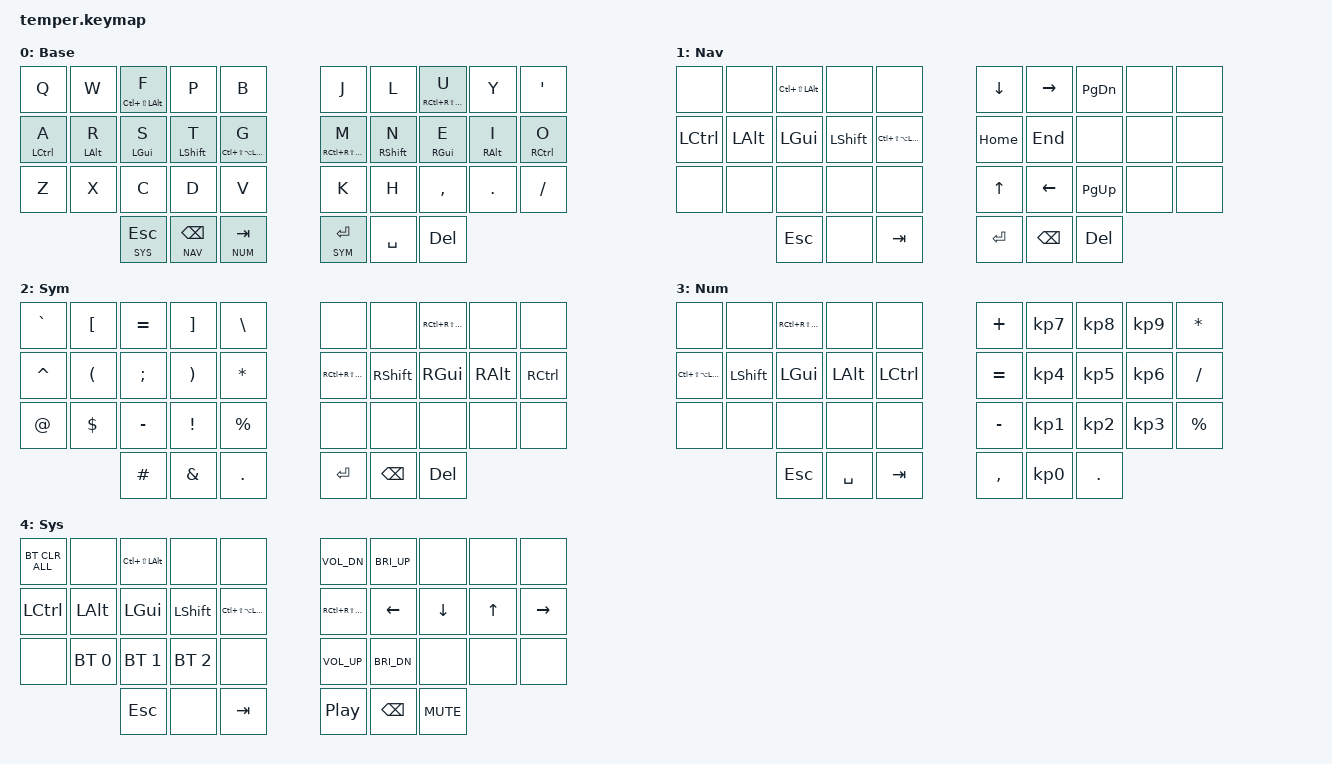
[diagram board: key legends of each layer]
/*
 * Copyright (c) 2020 The ZMK Contributors
 *
 * SPDX-License-Identifier: MIT
 */

#include <behaviors.dtsi>
#include <dt-bindings/zmk/keys.h>
#include <dt-bindings/zmk/bt.h>
#include <dt-bindings/zmk/outputs.h>

#define BASE  0
#define NAV   1
#define SYM   2
#define NUM   3
#define SYS   4

#define LMEH   LC(LS(LALT))
#define RMEH   RC(RS(RALT))
#define LHYPR  LC(LS(LA(LGUI)))
#define RHYPR  RC(RS(RA(RGUI)))
#define ___ &trans


// Reminder of the key indexes
// RC(0,0) RC(0,1) RC(0,2) RC(0,3) RC(0,4)  RC(0,5) RC(0,6) RC(0,7) RC(0,8) RC(0,9)
// RC(1,0) RC(1,1) RC(1,2) RC(1,3) RC(1,4)  RC(1,5) RC(1,6) RC(1,7) RC(1,8) RC(1,9)
// RC(2,0) RC(2,1) RC(2,2) RC(2,3) RC(2,4)  RC(2,5) RC(2,6) RC(2,7) RC(2,8) RC(2,9)
//                RC(3,2) RC(3,3) RC(3,4)  RC(3,5) RC(3,6) RC(3,7)


&caps_word {
    continue-list = <UNDERSCORE MINUS SPACE DELETE BACKSPACE>;
};

/ {
    behaviors {
        slt: sticky_layer_tap {
            compatible = "zmk,behavior-hold-tap";
            #binding-cells = <2>;
            quick-tap-ms = <200>;
            tapping-term-ms = <150>;
            flavor = "hold-preferred";
            bindings = <&sl>, <&kp>;
        };
        hml: balanced_homerow_mods_left {
            compatible = "zmk,behavior-hold-tap";
            #binding-cells = <2>;
            tapping-term-ms = <180>;  
            quick-tap-ms = <0>;
            flavor = "balanced";
            bindings = <&kp>, <&kp>;
        };
        hmr: balanced_homerow_mods_right {
            compatible = "zmk,behavior-hold-tap";
            #binding-cells = <2>;
            tapping-term-ms = <180>;   
            quick-tap-ms = <0>;
            flavor = "balanced";
            bindings = <&kp>, <&kp>;
            hold-trigger-key-positions = <0 1 2 3 4 14 20 21 22 23 24 32 33 34>;
        };
        tp: tap_preferred_hold {
            compatible = "zmk,behavior-hold-tap";
            #binding-cells = <2>;
            tapping-term-ms = <180>;    
            flavor = "tap-preferred";
            bindings = <&kp>, <&kp>;
        };
    };
    combos {
        compatible = "zmk,combos";
        // Vertical Top row + Home row
        // Left
     
      left_bracket_combo {
            timeout-ms = <50>;
            key-positions = <1 11>;
            bindings = <&kp LBKT>;
            layers = <0>;
        };
       left_brace_combo {
            timeout-ms = <50>;
            key-positions = <2 12>;
            bindings = <&kp LBRC>;
            layers = <0>;
        };
       left_paren_combo {
            timeout-ms = <50>;
            key-positions = <3 13>;
            bindings = <&kp LPAR>;
            layers = <0>;
        };
       lt_combo {
            timeout-ms = <50>;
            key-positions = <4 14>;
            bindings = <&kp LT>;
            layers = <0>;
        };
        // Right
       gt_combo {
            timeout-ms = <50>;
            key-positions = <5 15>;
            bindings = <&kp GT>;
            layers = <0>;
        };
       right_paren_combo {
            timeout-ms = <50>;
            key-positions = <6 16>;
            bindings = <&kp RPAR>;
            layers = <0>;
        };
       right_brace_combo {
            timeout-ms = <50>;
            key-positions = <7 17>;
            bindings = <&kp RBRC>;
            layers = <0>;
        };
       right_bracket_combo {
            timeout-ms = <50>;
            key-positions = <8 18>;
            bindings = <&kp RBKT>;
            layers = <0>;
        };

      // Vertial Home row + bottom
       minus_combo {
            timeout-ms = <50>;
            key-positions = <12 22>;
            bindings = <&kp MINUS>;
            layers = <0>;
        };
       underscore_combo {
            timeout-ms = <50>;
            key-positions = <14 24>;
            bindings = <&kp UNDERSCORE>;
            layers = <0>;
        };
       equal_combo {
            timeout-ms = <50>;
            key-positions = <15 25>;
            bindings = <&kp EQUAL>;
            layers = <0>;
        };
        vim_command_combo {
            timeout-ms = <50>;
            key-positions = <16 26>;
            bindings = <&kp COLON>;
            layers = <0>;
        };
       plus_combo {
            timeout-ms = <50>;
            key-positions = <17 27>;
            bindings = <&kp PLUS>;
            layers = <0>;
        };


      // Horizontal
        caps_words_combo {
            timeout-ms = <50>;
            key-positions = <0 10>;
            bindings = <&caps_word>;
        };

        // Set up mods combo - note: there is probably a better way to do this
        // Left hand combos - Basic dual combinations
        combo_left_ctrl_opt {
            timeout-ms = <50>;
            key-positions = <10 11>; // A + R (Ctrl + Opt)
            bindings = <&kp LCTRL &kp LALT>;
        };
        
        combo_left_ctrl_cmd {
            timeout-ms = <50>;
            key-positions = <10 12>; // A + S (Ctrl + Cmd)
            bindings = <&kp LCTRL &kp LCMD>;
        };
        
        combo_left_ctrl_shift {
            timeout-ms = <50>;
            key-positions = <10 13>; // A + T (Ctrl + Shift)
            bindings = <&kp LCTRL &kp LSHIFT>;
        };
        
        combo_left_opt_cmd {
            timeout-ms = <50>;
            key-positions = <11 12>; // R + S (Opt + Cmd)
            bindings = <&kp LALT &kp LCMD>;
        };
        
        combo_left_opt_shift {
            timeout-ms = <50>;
            key-positions = <11 13>; // R + T (Opt + Shift)
            bindings = <&kp LALT &kp LSHIFT>;
        };
        
        combo_left_cmd_shift {
            timeout-ms = <50>;
            key-positions = <12 13>; // S + T (Cmd + Shift)
            bindings = <&kp LCMD &kp LSHIFT>;
        };
        
        // Right hand combos - Basic dual combinations
        combo_right_shift_cmd {
            timeout-ms = <50>;
            key-positions = <16 17>; // N + E (Shift + Cmd)
            bindings = <&kp RSHIFT &kp RCMD>;
        };
        
        combo_right_shift_opt {
            timeout-ms = <50>;
            key-positions = <16 18>; // N + I (Shift + Opt)
            bindings = <&kp RSHIFT &kp RALT>;
        };
        
        combo_right_shift_ctrl {
            timeout-ms = <50>;
            key-positions = <16 19>; // N + O (Shift + Ctrl)
            bindings = <&kp RSHIFT &kp RCTRL>;
        };
        
        combo_right_cmd_opt {
            timeout-ms = <50>;
            key-positions = <17 18>; // E + I (Cmd + Opt)
            bindings = <&kp RCMD &kp RALT>;
        };
        
        combo_right_cmd_ctrl {
            timeout-ms = <50>;
            key-positions = <17 19>; // E + O (Cmd + Ctrl)
            bindings = <&kp RCMD &kp RCTRL>;
        };
        
        combo_right_opt_ctrl {
            timeout-ms = <50>;
            key-positions = <18 19>; // I + O (Opt + Ctrl)
            bindings = <&kp RALT &kp RCTRL>;
        };
    };

  keymap {
    compatible = "zmk,keymap";
    default_layer {
      display-name="Base";
      bindings = <
      // ╭──────────────┬──────────────┬──────────────┬──────────────┬──────────────╮ ╭──────────────┬──────────────┬──────────────┬──────────────┬──────────────╮
          &kp Q          &kp W          &tp LMEH  F    &kp P          &kp B            &kp J          &kp L          &tp RMEH  U    &kp Y          &kp APOS
      // ├──────────────┼──────────────┼──────────────┼──────────────┼──────────────┤ ├──────────────┼──────────────┼──────────────┼──────────────┼──────────────┤
          &hml LCTRL A   &hml LALT R    &hml LGUI S    &hml LSHFT T   &tp LHYPR G       &tp RHYPR M     &hmr RSHFT N   &hmr RGUI E    &hmr RALT I    &hmr RCTRL O
      // ├──────────────┼──────────────┼──────────────┼──────────────┼──────────────┤ ├──────────────┼──────────────┼──────────────┼──────────────┼──────────────┤
          &kp Z          &kp X          &kp C          &kp D          &kp V            &kp K          &kp H          &kp COMMA      &kp DOT        &kp FSLH
      // ╰──────────────┼──────────────┼──────────────┼──────────────┼──────────────┤ ├──────────────┼──────────────┼──────────────┼──────────────┼──────────────╯
                                        &slt SYS ESC   &slt NAV BKSP &slt NUM TAB    &slt SYM RET  &kp SPACE       &kp DEL
      //                               ╰──────────────┴──────────────┴──────────────╯ ╰──────────────┴──────────────┴──────────────╯
      >;
    };
    nav_layer {
      display-name="Nav";
      bindings = <
      // ╭──────────────┬──────────────┬──────────────┬──────────────┬──────────────╮ ╭──────────────┬──────────────┬──────────────┬──────────────┬──────────────╮
          &none          &none          &kp LMEH       &none          &none            &kp DOWN       &kp RIGHT      &kp PG_DN      &none          &none
      // ├──────────────┼──────────────┼──────────────┼──────────────┼──────────────┤ ├──────────────┼──────────────┼──────────────┼──────────────┼──────────────┤
          &kp LCTRL      &kp LALT       &kp LGUI       &kp LSHFT      &kp LHYPR         &kp HOME       &kp END        &none          &none         &none
      // ├──────────────┼──────────────┼──────────────┼──────────────┼──────────────┤ ├──────────────┼──────────────┼──────────────┼──────────────┼──────────────┤
          &none         &none           &none          &none          &none            &kp UP         &kp LEFT       &kp PG_UP      &none          &none 
      // ╰──────────────┼──────────────┼──────────────┼──────────────┼──────────────┤ ├──────────────┼──────────────┼──────────────┼──────────────┼──────────────╯
                                        &kp ESC        &none          &kp TAB          &kp RET        &kp BKSP       &kp DEL
      //                               ╰──────────────┴──────────────┴──────────────╯ ╰──────────────┴──────────────┴──────────────╯
      >;
    };

   symbols_layer {
      display-name="Sym";
      bindings = <
      // ╭──────────────┬──────────────┬──────────────┬──────────────┬──────────────╮ ╭──────────────┬──────────────┬──────────────┬──────────────┬──────────────╮
          &kp GRAVE      &kp LBKT       &kp EQUAL      &kp RBKT       &kp BSLH          &none         &none          &kp RMEH      &none          &none
      // ├──────────────┼──────────────┼──────────────┼──────────────┼──────────────┤ ├──────────────┼──────────────┼──────────────┼──────────────┼──────────────┤
          &kp CARET      &kp LPAR       &kp SEMI       &kp RPAR       &kp ASTRK         &kp RHYPR       &kp RSHFT     &kp RGUI       &kp RALT       &kp RCTRL
      // ├──────────────┼──────────────┼──────────────┼──────────────┼──────────────┤ ├──────────────┼──────────────┼──────────────┼──────────────┼──────────────┤
          &kp AT         &kp DLLR       &kp MINUS      &kp EXCL       &kp PRCNT         &none          &none          &none          &none          &none 
      // ╰──────────────┼──────────────┼──────────────┼──────────────┼──────────────┤ ├──────────────┼──────────────┼──────────────┼──────────────┼──────────────╯
                                        &kp HASH       &kp AMPS       &kp DOT           &kp RET        &kp BKSP       &kp DEL
      //                               ╰──────────────┴──────────────┴──────────────╯ ╰──────────────┴──────────────┴──────────────╯
      >;
    };

   numbers_layer {
      display-name="Num";
      bindings = <
      // ╭──────────────┬──────────────┬──────────────┬──────────────┬──────────────╮ ╭──────────────┬──────────────┬──────────────┬──────────────┬──────────────╮
          &none          &none         &kp RMEH        &none          &none            &kp PLUS       &kp KP_N7      &kp KP_N8      &kp KP_N9      &kp ASTRK
      // ├──────────────┼──────────────┼──────────────┼──────────────┼──────────────┤ ├──────────────┼──────────────┼──────────────┼──────────────┼──────────────┤
          &kp LHYPR       &kp LSHFT      &kp LGUI       &kp LALT       &kp LCTRL        &kp EQUAL      &kp KP_N4      &kp KP_N5      &kp KP_N6      &kp FSLH
      // ├──────────────┼──────────────┼──────────────┼──────────────┼──────────────┤ ├──────────────┼──────────────┼──────────────┼──────────────┼──────────────┤
          &none          &none          &none          &none          &none            &kp MINUS      &kp KP_N1      &kp KP_N2      &kp KP_N3      &kp PRCNT
      // ╰──────────────┼──────────────┼──────────────┼──────────────┼──────────────┤ ├──────────────┼──────────────┼──────────────┼──────────────┼──────────────╯
                                        &kp ESC        &kp SPACE      &kp TAB          &kp COMMA      &kp KP_N0      &kp DOT 
      //                               ╰──────────────┴──────────────┴──────────────╯ ╰──────────────┴──────────────┴──────────────╯
      >;
    };
    sys_layer {
      display-name="Sys";
      bindings = <
      // ╭──────────────┬──────────────┬──────────────┬──────────────┬──────────────╮ ╭──────────────┬──────────────┬──────────────┬──────────────┬──────────────╮
          &bt BT_CLR_ALL &none          &kp LMEH       &none          &none            &kp C_VOL_DN   &kp C_BRI_UP   &none          &none          &none
      // ├──────────────┼──────────────┼──────────────┼──────────────┼──────────────┤ ├──────────────┼──────────────┼──────────────┼──────────────┼──────────────┤
          &kp LCTRL      &kp LALT       &kp LGUI       &kp LSHFT      &kp LHYPR         &kp RHYPR       &kp LEFT       &kp DOWN       &kp UP         &kp RIGHT
      // ├──────────────┼──────────────┼──────────────┼──────────────┼──────────────┤ ├──────────────┼──────────────┼──────────────┼──────────────┼──────────────┤
          &none          &bt BT_SEL 0   &bt BT_SEL 1   &bt BT_SEL 2   &none            &kp C_VOL_UP   &kp C_BRI_DN   &none          &none          &none 
      // ╰──────────────┼──────────────┼──────────────┼──────────────┼──────────────┤ ├──────────────┼──────────────┼──────────────┼──────────────┼──────────────╯
                                        &kp ESC        &none          &kp TAB          &kp C_PP       &kp BKSP       &kp C_MUTE
      //                               ╰──────────────┴──────────────┴──────────────╯ ╰──────────────┴──────────────┴──────────────╯
      >;
    };
  };
};
